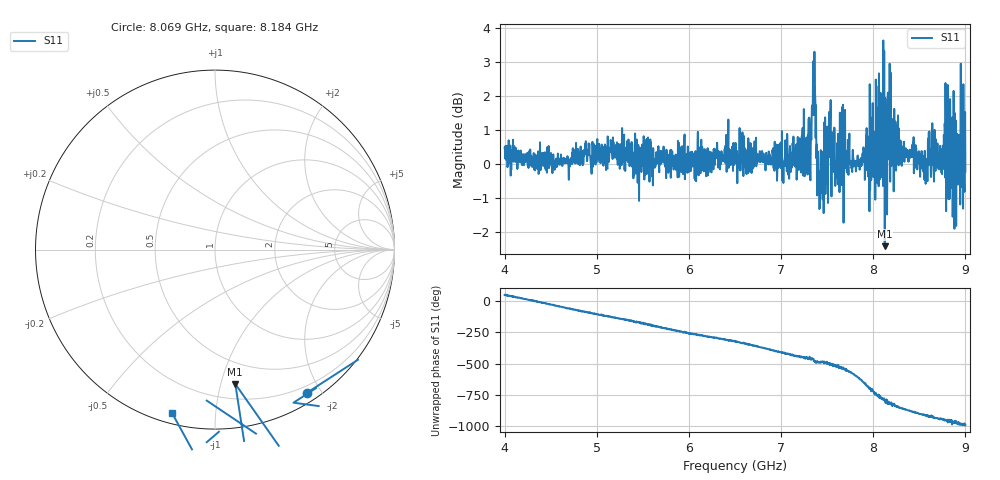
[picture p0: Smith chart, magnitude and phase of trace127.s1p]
! Created with skrf 1.8.0 (http://scikit-rf.org).
# Hz S RI R 50.0
!freq ReS11 ImS11
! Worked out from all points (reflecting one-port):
!   1601 points, 4 GHz to 9 GHz, reference 50 ohm
!   lowest |S11| = -2.4 dB at 8.125 GHz (marker M1), VSWR 7.22, Z = 15.9 - j55.6 ohm
!   phase of S11 starts at 51 deg and turns -1044 deg over the sweep
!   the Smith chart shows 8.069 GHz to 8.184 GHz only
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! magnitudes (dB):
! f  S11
! 4 GHz  0.5
! 4.625 GHz  -0.1
! 5.25 GHz  -0.1
! 5.875 GHz  -0.1
! 6.5 GHz  0.2
! 7.125 GHz  0.6
! 7.297 GHz  0.9
! 7.356 GHz  2.0
! 7.4 GHz  0.4
! 7.428 GHz  -0.3
! 7.512 GHz  0.8
! 7.609 GHz  0.6
! 7.669 GHz  0.7
! 7.75 GHz  0.0
! 7.959 GHz  -1.4
! 8.053 GHz  0.6
! 8.066 GHz  1.6
! 8.097 GHz  0.7
! 8.125 GHz  -2.4
! 8.219 GHz  0.9
! 8.375 GHz  0.3
! 8.566 GHz  0.1
! 8.619 GHz  0.2
! 8.725 GHz  0.5
! 8.788 GHz  0.0
! 8.841 GHz  0.8
! 8.972 GHz  0.4
! 9 GHz  -0.2
